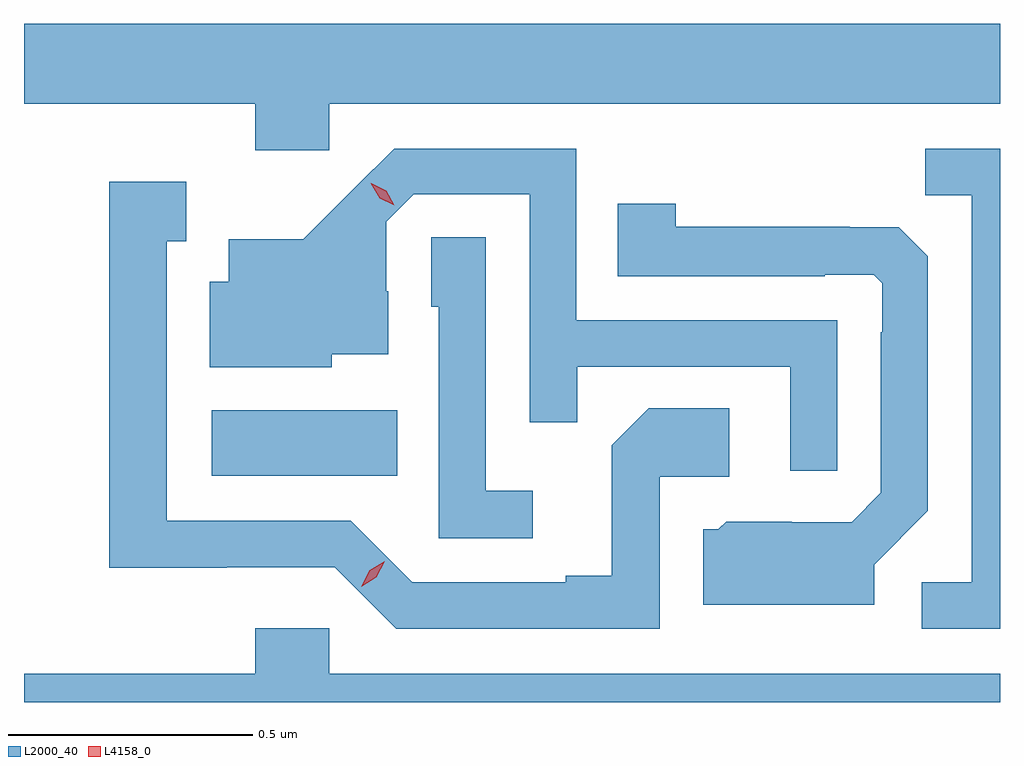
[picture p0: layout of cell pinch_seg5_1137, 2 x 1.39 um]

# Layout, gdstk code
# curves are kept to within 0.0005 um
import gdstk
lib = gdstk.Library(unit=1e-6, precision=1e-09)
def R(c, l, rs):  # rectangles x0, y0, x1, y1
    for r in rs: c.add(gdstk.rectangle(r[:2], r[2:], *l))
def P(c, l, *ps):  # polygons
    for p in ps: c.add(gdstk.Polygon(p, *l))
L2000_40 = (2000, 40)
L4158_0 = (4158, 0)

pinch_seg5_1137 = lib.new_cell('pinch_seg5_1137')
R(pinch_seg5_1137, L2000_40, [(796.716,865.322,797.096,865.456)])
P(pinch_seg5_1137, L2000_40, [(796.956,866.084),(798.331,866.084),(798.331,866.248),(796.331,866.248),(796.331,866.084),(796.805,866.084),(796.805,865.989),(796.956,865.989)],
  [(797.997,865.641),(797.463,865.641),(797.463,865.992),(797.09,865.992),(796.903,865.807),(796.751,865.807),(796.751,865.72),(796.712,865.72),(796.712,865.544),(796.962,865.544),(796.962,865.571),(797.077,865.571),(797.077,865.7),(797.073,865.7),(797.073,865.842),(797.13,865.899),(797.367,865.899),(797.367,865.432),(797.465,865.432),(797.465,865.545),(797.901,865.545),(797.901,865.332),(797.997,865.332)],
  [(798.331,865.992),(798.178,865.992),(798.178,865.897),(798.273,865.897),(798.273,865.104),(798.171,865.104),(798.171,865.008),(798.331,865.008)],
  [(797.634,865.32),(797.776,865.32),(797.776,865.46),(797.611,865.46),(797.535,865.384),(797.535,865.117),(797.441,865.117),(797.441,865.104),(797.127,865.104),(797.001,865.23),(796.624,865.23),(796.624,865.803),(796.663,865.803),(796.663,865.924),(796.506,865.924),(796.506,865.133),(796.746,865.133),(796.746,865.134),(796.968,865.134),(797.094,865.008),(797.634,865.008)],
  [(798.073,865.14),(798.183,865.25),(798.183,865.772),(798.124,865.831),(798.023,865.831),(798.023,865.832),(797.667,865.832),(797.667,865.879),(797.548,865.879),(797.548,865.731),(797.972,865.731),(797.972,865.734),(798.072,865.734),(798.09,865.716),(798.09,865.616),(798.087,865.616),(798.087,865.287),(798.027,865.227),(797.904,865.227),(797.904,865.228),(797.77,865.228),(797.754,865.212),(797.723,865.212),(797.723,865.058),(798.073,865.058)],
  [(797.374,865.291),(797.277,865.291),(797.277,865.811),(797.166,865.811),(797.166,865.668),(797.181,865.668),(797.181,865.194),(797.374,865.194)],
  [(798.331,864.916),(796.956,864.916),(796.956,865.009),(796.805,865.009),(796.805,864.916),(796.331,864.916),(796.331,864.858),(798.331,864.858)])
P(pinch_seg5_1137, L4158_0, [(797.022,865.095),(797.022,865.095),(797.039,865.128),(797.07,865.147),(797.07,865.147),(797.07,865.147),(797.053,865.114),(797.022,865.095)],
  [(797.09,865.876),(797.06,865.891),(797.042,865.921),(797.042,865.921),(797.043,865.921),(797.073,865.906),(797.09,865.876),(797.09,865.876)])

lib.write_gds('pinch_seg5_1137.gds')
